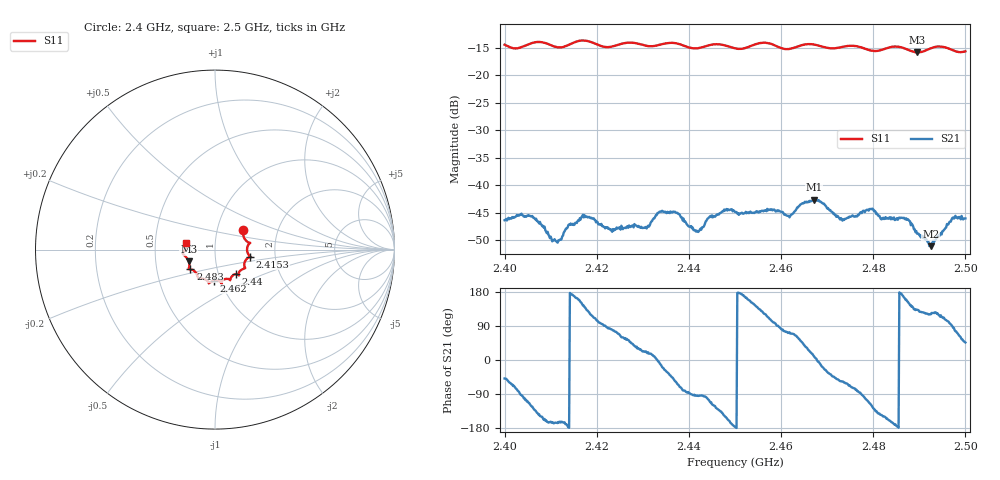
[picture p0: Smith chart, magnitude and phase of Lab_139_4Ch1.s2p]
# Hz S RI R 50
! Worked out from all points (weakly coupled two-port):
!   601 points, 2.4 GHz to 2.5 GHz, reference 50 ohm
!   highest |S21| = -42.62 dB at 2.4672 GHz (marker M1); lowest = -51.1 dB at 2.4925 GHz (marker M2)
!   lowest |S11| = -15.9 dB at 2.4895 GHz (marker M3), VSWR 1.38, Z = 36.9 - j5.01 ohm
!   |S11| at or under -10 dB: start of sweep to end of sweep
!   S12 and S22 are empty: the file has one direction only
!   S11 on the Smith chart (normalised r, x): 2.4 GHz: 1.33, +0.29; 2.4153 GHz: 1.48, -0.12; 2.44 GHz: 1.21, -0.34; 2.462 GHz: 0.93, -0.33; 2.483 GHz: 0.74, -0.17; 2.5 GHz: 0.72, +0.06
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2.4e9  0.1557 0.1067  0.00316 -0.00362  0 0  0 0
2.405667e9  0.1898 0.0382  -0.00257 -0.00453  0 0  0 0
2.411e9  0.1803 0.0133  -0.00305 -0.000803  0 0  0 0
2.415333e9  0.1958 -0.0386  -0.00441 0.00115  0 0  0 0
2.416667e9  0.2016 -0.0425  -0.00449 0.00249  0 0  0 0
2.4235e9  0.1631 -0.0817  0.000827 0.00391  0 0  0 0
2.430833e9  0.1446 -0.1141  0.00382 0.00136  0 0  0 0
2.433333e9  0.1311 -0.1334  0.00557 -0.000398  0 0  0 0
2.44e9  0.1143 -0.1368  0.000293 -0.0042  0 0  0 0
2.45e9  0.0645 -0.1629  -0.00571 -0.000331  0 0  0 0
2.462e9  -0.00517 -0.1732  0.00183 0.00495  0 0  0 0
2.466667e9  -0.0345 -0.1876  0.00687 0.0021  0 0  0 0
2.467167e9  -0.0349 -0.1862  0.00729 0.00123  0 0  0 0
2.473167e9  -0.0812 -0.1605  0.0027 -0.00411  0 0  0 0
2.4795e9  -0.1061 -0.1289  -0.00286 -0.00538  0 0  0 0
2.483e9  -0.1374 -0.1096  -0.00454 -0.00219  0 0  0 0
2.483333e9  -0.1398 -0.1095  -0.0046 -0.00185  0 0  0 0
2.487167e9  -0.1433 -0.0957  -0.00468 0.00177  0 0  0 0
2.4895e9  -0.1463 -0.066  -0.00245 0.00269  0 0  0 0
2.4925e9  -0.1724 -0.0307  -0.00143 0.0024  0 0  0 0
2.4975e9  -0.1667 -0.00139  0.000449 0.00496  0 0  0 0
2.5e9  -0.1598 0.0391  0.00346 0.00361  0 0  0 0
